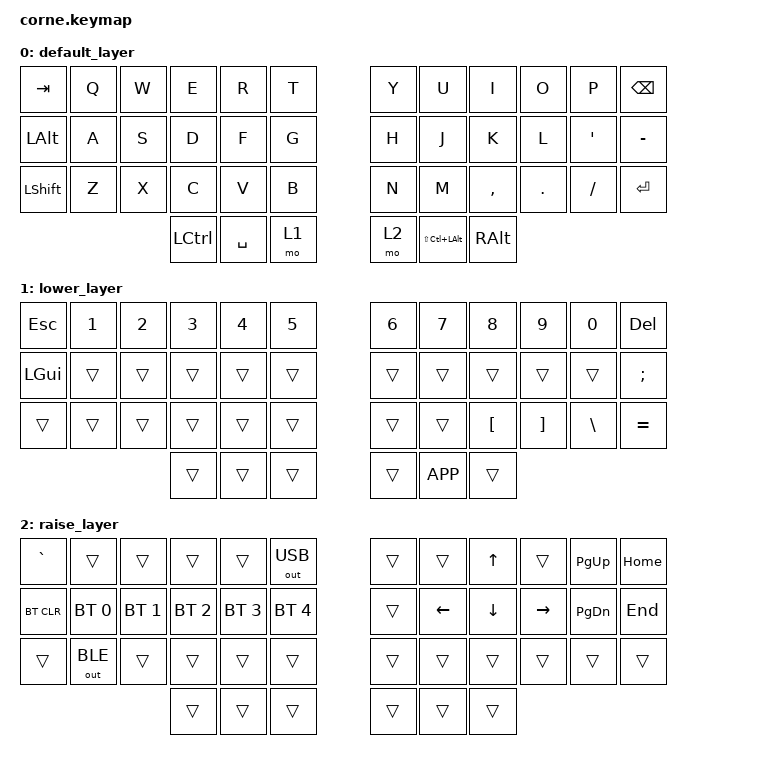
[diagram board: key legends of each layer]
/*
 * Copyright (c) 2020 The ZMK Contributors
 *
 * SPDX-License-Identifier: MIT
 */

#include <behaviors.dtsi>
#include <dt-bindings/zmk/keys.h>
#include <dt-bindings/zmk/bt.h>
#include <dt-bindings/zmk/outputs.h>
#define MEH LS(LC(LALT))
//
/ {
        keymap {
                compatible = "zmk,keymap";

                default_layer {
// -----------------------------------------------------------------------------------------
// |  TAB |  Q  |  W  |  E  |  R  |  T  |   |  Y  |  U   |  I  |  O  |  P  | BKSP |
// | LALT |  A  |  S  |  D  |  F  |  G  |   |  H  |  J   |  K  |  L  |  '  |  -   |
// | SHFT |  Z  |  X  |  C  |  V  |  B  |   |  N  |  M   |  ,  |  .  |  /  | ENT  |
//                    | CTRL| SPC | LWR |   | RSE | MEH  | ALT |
                        bindings = <
   &kp TAB   &kp Q &kp W &kp E &kp R &kp T   &kp Y &kp U  &kp I     &kp O   &kp P    &kp BSPC
   &kp LALT  &kp A &kp S &kp D &kp F &kp G   &kp H &kp J  &kp K     &kp L   &kp SQT  &kp MINUS
   &kp LSHFT &kp Z &kp X &kp C &kp V &kp B   &kp N &kp M  &kp COMMA &kp DOT &kp FSLH &kp ENTER
                 &kp LCTRL &kp SPACE &mo 1   &mo 2 &kp MEH &kp RALT
                        >;
                };
                lower_layer {
// -----------------------------------------------------------------------------------------
// |  ESC |  1  |  2  |  3  |  4  |  5  |   |  6  |  7  |  8  |  9  |  0  | DEL  |
// |  WIN |     |     |     |     |     |   |     |     |     |     |     |  ;   |
// |      |     |     |     |     |     |   |     |     |  [  |  ]  |  \  |  =   |
//                    |     |     |     |   |     | KAPP|     |
                        bindings = <
   &kp ESC    &kp N1   &kp N2   &kp N3   &kp N4   &kp N5     &kp N6   &kp N7   &kp N8   &kp N9   &kp N0   &kp DEL
   &kp LGUI   &trans   &trans   &trans   &trans   &trans     &trans   &trans   &trans   &trans   &trans   &kp SEMI
   &trans     &trans   &trans   &trans   &trans   &trans     &trans   &trans   &kp LBKT &kp RBKT &kp BSLH &kp EQUAL
                          	    &trans   &trans   &trans    &trans   &kp K_APP  &trans
                        >;
                };

                raise_layer {
// -----------------------------------------------------------------------------------------
// |GRAVE |     |     |     |     |OUTSB|   |     |     |UP   |     |PG_UP |HOME  |
// |BTCLR | BT0 | BT1 | BT2 | BT3 | BT4 |   |     | LFT | DWN |RGT  |PG_DN |END   |
// |      |OUTBT|     |     |     |     |   |     |     |     |     |      |      |
//                    |     |     |     |   |     |     |     |
                        bindings = <
   &kp GRAVE  &trans       &trans       &trans       &trans       &out OUT_USB   &trans    &trans    &kp UP    &trans    &kp PG_UP &kp HOME
   &bt BT_CLR &bt BT_SEL 0 &bt BT_SEL 1 &bt BT_SEL 2 &bt BT_SEL 3 &bt BT_SEL 4   &trans    &kp LEFT  &kp DOWN  &kp RIGHT &kp PG_DN &kp END
   &trans     &out OUT_BLE &trans       &trans       &trans       &trans       &trans    &trans    &trans    &trans    &trans    &trans
                    	                  &trans       &trans       &trans       &trans    &trans    &trans
                        >;
                };
        };
};
